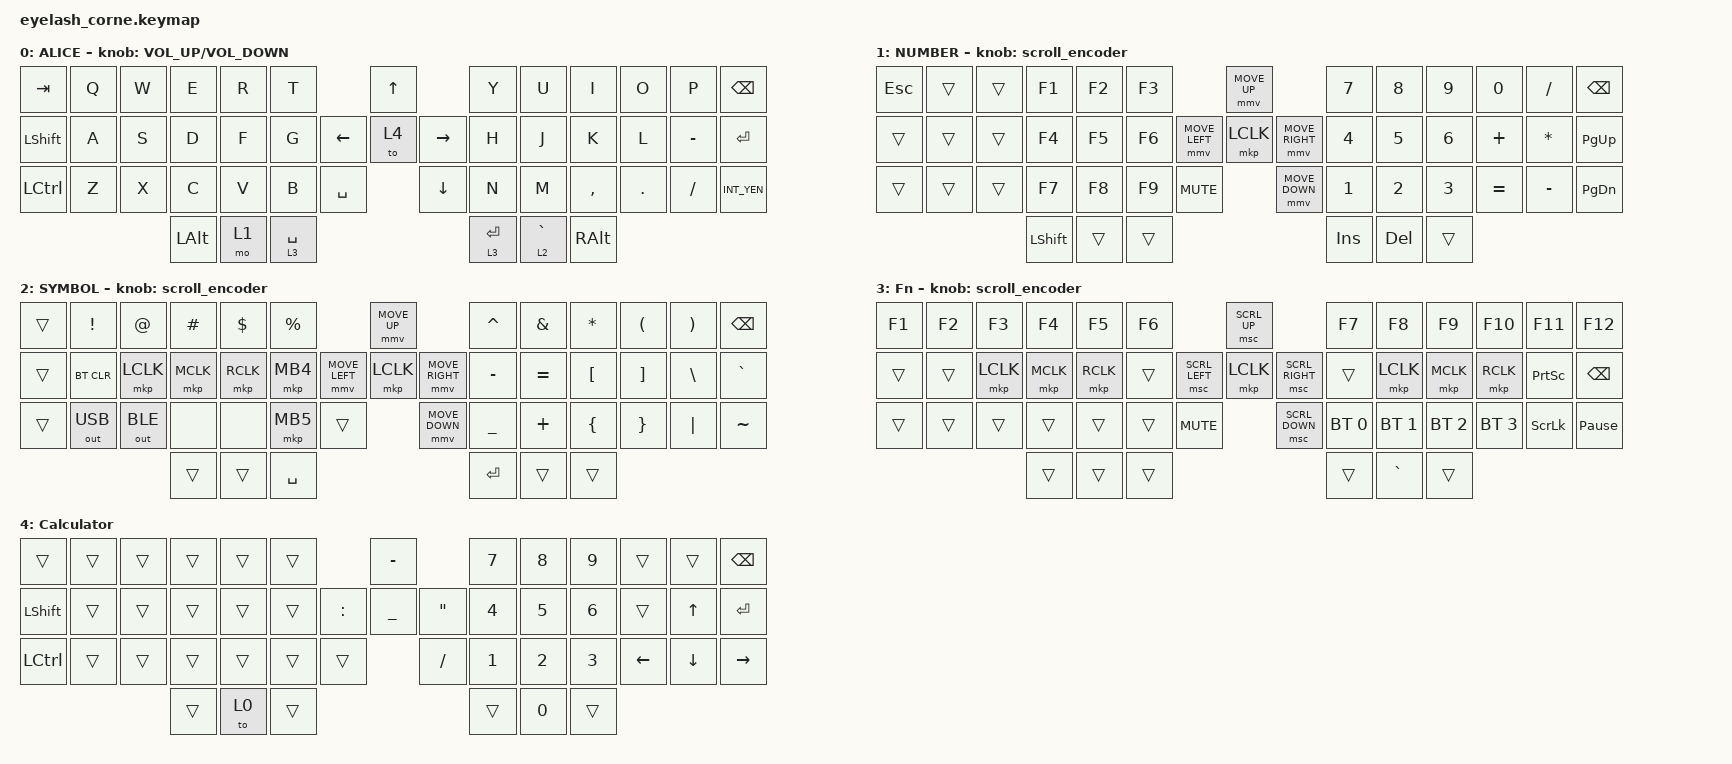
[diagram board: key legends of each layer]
// OS設定を日本語キーボードのまま使用するための変換定義

#define JP_DQUOTE       AT                // "
#define JP_AMPERSAND    CARET             // &
#define JP_QUOTE        AMPERSAND         // '
#define JP_EQUAL        UNDER             // =
#define JP_CARET        EQUAL             // ^
#define JP_YEN          0x89              // ¥
#define JP_PLUS         COLON             // +
#define JP_TILDE        PLUS              // ~
#define JP_PIPE         LS(0x89)          // |
#define JP_AT           LEFT_BRACKET      // @
#define JP_COLON        SINGLE_QUOTE      // :
#define JP_ASTERISK     DOUBLE_QUOTES     // *
#define JP_BACKQUOTE    LEFT_BRACE        // `
#define JP_UNDERSCORE   LS(0x87)          // _
#define JP_LBRACKET     RIGHT_BRACKET     // [
#define JP_RBRACKET     BACKSLASH         // ]
#define JP_LPAREN       ASTERISK          // (
#define JP_RPAREN       LEFT_PARENTHESIS  // )
#define JP_LBRACE       RIGHT_BRACE       // {
#define JP_RBRACE       PIPE              // }
#define JP_KANA         LANGUAGE_1        // かな
#define JP_EISU         LANGUAGE_2        // 英数
#define JP_HANZEN       GRAVE             // 半角/全角
#define ZMK_POINTING_DEFAULT_MOVE_VAL 1200  // 600
#define ZMK_POINTING_DEFAULT_SCRL_VAL 25   // 10

#include <input/processors.dtsi>
#include <zephyr/dt-bindings/input/input-event-codes.h>
#include <behaviors.dtsi>
#include <dt-bindings/zmk/bt.h>
#include <dt-bindings/zmk/keys.h>
#include <dt-bindings/zmk/outputs.h>
#include <dt-bindings/zmk/pointing.h>
#include <dt-bindings/zmk/rgb.h>

&mmv_input_listener { input-processors = <&zip_xy_scaler 2 1>; };

&msc_input_listener { input-processors = <&zip_scroll_scaler 2 1>; };

&msc {
    acceleration-exponent = <1>;      // 0
    time-to-max-speed-ms = <100>;       // 300
    delay-ms = <0>;                   // 0
};

&mmv {
    time-to-max-speed-ms = <500>;
    acceleration-exponent = <1>;
    trigger-period-ms = <16>;
};

&soft_off { hold-time-ms = <2000>; };

/ {
    behaviors {
        td0: td0 {
            compatible = "zmk,behavior-tap-dance";
            display-name = "Shift/Caps Lock Tap Dance";
            #binding-cells = <0>;
            bindings = <&kp LEFT_SHIFT>, <&kp CAPS>;
        };
    };

    rgb_encoder: rgb_encoder {
        compatible = "zmk,behavior-sensor-rotate";
        #sensor-binding-cells = <0>;
        bindings = <&rgb_ug RGB_BRI>, <&rgb_ug RGB_BRD>;
    };

    scroll_encoder: scroll_encoder {
        compatible = "zmk,behavior-sensor-rotate";
        #sensor-binding-cells = <0>;
        bindings = <&msc SCRL_DOWN>, <&msc SCRL_UP>;

        tap-ms = <100>;
    };

    combos {
        compatible = "zmk,combos";

        Combo1 {
            bindings = <&new_macro>;
            key-positions = <42 43 44>;
        };
    };

    macros {
        new_macro: new_macro {
            compatible = "zmk,behavior-macro";
            #binding-cells = <0>;
            bindings = <&none &kp S &kp N2 &kp N4 &kp LS(M) &kp A &kp S &kp A &kp T &kp O &kp N0 &kp N0 &kp N0 &kp N6 &kp QMARK &kp RET>;
            label = "NEW_MACRO";
        };
    };

    keymap {
        compatible = "zmk,keymap";

        default_layer {
            display-name = "ALICE";
            bindings = <
&kp TAB         &kp Q  &kp W  &kp E         &kp R  &kp T                                     &kp UP_ARROW                     &kp Y        &kp U        &kp I      &kp O    &kp P      &kp BSPC
&kp LEFT_SHIFT  &kp A  &kp S  &kp D         &kp F  &kp G                     &kp LEFT_ARROW  &to 4           &kp RIGHT_ARROW  &kp H        &kp J        &kp K      &kp L    &kp MINUS  &kp ENTER
&kp LCTRL       &kp Z  &kp X  &kp C         &kp V  &kp B        &kp SPACE                    &kp DOWN_ARROW                   &kp N        &kp M        &kp COMMA  &kp DOT  &kp FSLH   &kp INT_YEN
                              &kp LEFT_ALT  &mo 1  &lt 3 SPACE                                                                &lt 3 ENTER  &lt 2 GRAVE  &kp RALT
            >;

            sensor-bindings = <&inc_dec_kp C_VOLUME_UP C_VOLUME_DOWN>;
        };

        lower_layer {
            display-name = "NUMBER";
            bindings = <
&kp ESCAPE  &trans  &trans  &kp F1      &kp F2  &kp F3                                &mmv MOVE_UP                     &kp NUMBER_7  &kp NUMBER_8  &kp NUMBER_9  &kp NUMBER_0  &kp SLASH     &kp BSPC
&trans      &trans  &trans  &kp F4      &kp F5  &kp F6                &mmv MOVE_LEFT  &mkp LCLK       &mmv MOVE_RIGHT  &kp NUMBER_4  &kp NUMBER_5  &kp NUMBER_6  &kp PLUS      &kp ASTERISK  &kp PG_UP
&trans      &trans  &trans  &kp F7      &kp F8  &kp F9  &kp C_MUTE                    &mmv MOVE_DOWN                   &kp NUMBER_1  &kp NUMBER_2  &kp NUMBER_3  &kp EQUAL     &kp MINUS     &kp PG_DN
                            &kp LSHIFT  &trans  &trans                                                                 &kp INS       &kp DEL       &trans
            >;

            sensor-bindings = <&scroll_encoder>;
        };

        raise_layer {
            display-name = "SYMBOL";
            bindings = <
&trans  &kp EXCL      &kp AT        &kp HASH   &kp DLLR   &kp PRCNT                            &mmv MOVE_UP                     &kp CARET  &kp AMPS   &kp ASTRK  &kp LPAR  &kp RPAR  &kp BSPC
&trans  &bt BT_CLR    &mkp LCLK     &mkp MCLK  &mkp RCLK  &mkp MB4             &mmv MOVE_LEFT  &mkp LCLK       &mmv MOVE_RIGHT  &kp MINUS  &kp EQUAL  &kp LBKT   &kp RBKT  &kp BSLH  &kp GRAVE
&trans  &out OUT_USB  &out OUT_BLE  &none      &none      &mkp MB5   &trans                    &mmv MOVE_DOWN                   &kp UNDER  &kp PLUS   &kp LBRC   &kp RBRC  &kp PIPE  &kp TILDE
                                    &trans     &trans     &kp SPACE                                                             &kp RET    &trans     &trans
            >;

            sensor-bindings = <&scroll_encoder>;
        };

        layer_3 {
            display-name = "Fn";
            bindings = <
&kp F1  &kp F2  &kp F3     &kp F4     &kp F5     &kp F6                                &msc SCRL_UP                     &kp F7        &kp F8         &kp F9        &kp F10       &kp F11          &kp F12
&trans  &trans  &mkp LCLK  &mkp MCLK  &mkp RCLK  &trans                &msc SCRL_LEFT  &mkp LCLK       &msc SCRL_RIGHT  &trans        &mkp LCLK      &mkp MCLK     &mkp RCLK     &kp PRINTSCREEN  &kp BACKSPACE
&trans  &trans  &trans     &trans     &trans     &trans  &kp C_MUTE                    &msc SCRL_DOWN                   &bt BT_SEL 0  &bt BT_SEL 1   &bt BT_SEL 2  &bt BT_SEL 3  &kp SCROLLLOCK   &kp PAUSE_BREAK
                           &trans     &trans     &trans                                                                 &trans        &kp JP_HANZEN  &trans
            >;

            sensor-bindings = <&scroll_encoder>;
        };

        layer_4 {
            bindings = <
&trans            &trans  &trans  &trans  &trans  &trans                       &kp MINUS                     &kp NUMBER_7  &kp NUMBER_8  &kp NUMBER_9  &trans    &trans        &kp BACKSPACE
&kp LEFT_SHIFT    &trans  &trans  &trans  &trans  &trans            &kp COLON  &kp UNDER  &kp DOUBLE_QUOTES  &kp NUMBER_4  &kp NUMBER_5  &kp NUMBER_6  &trans    &kp UP_ARROW  &kp ENTER
&kp LEFT_CONTROL  &trans  &trans  &trans  &trans  &trans  &trans               &kp SLASH                     &kp NUMBER_1  &kp NUMBER_2  &kp NUMBER_3  &kp LEFT  &kp DOWN      &kp RIGHT
                                  &trans  &to 0   &trans                                                     &trans        &kp NUMBER_0  &trans
            >;

            label = "Calculator";
        };
    };
};
